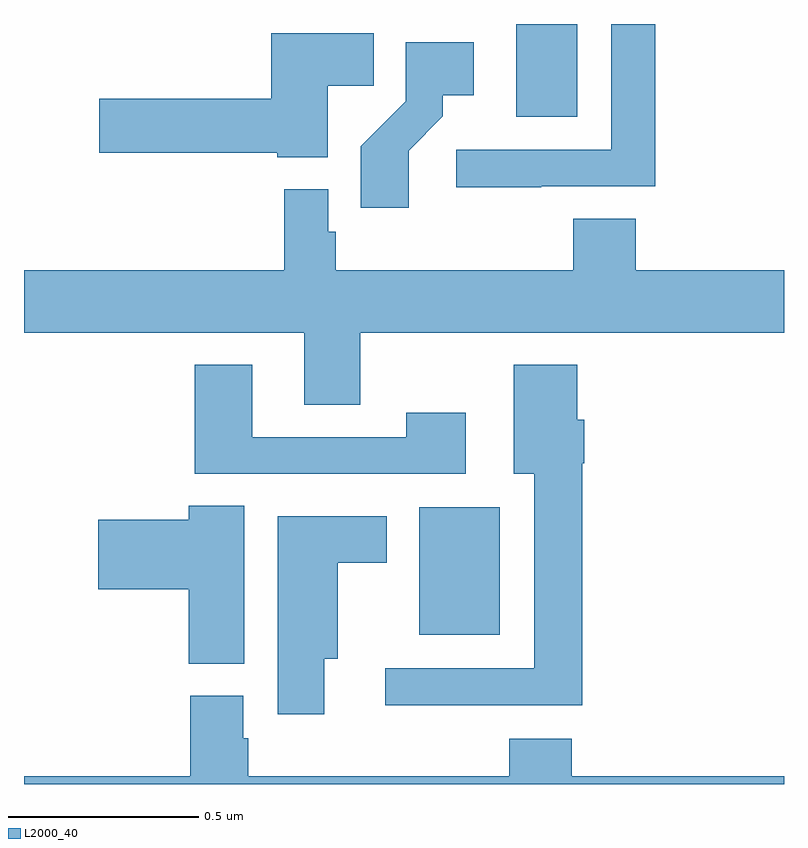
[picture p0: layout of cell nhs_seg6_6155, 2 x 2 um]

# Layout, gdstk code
import gdstk
lib = gdstk.Library(unit=1e-6, precision=1e-09)
def R(c, l, rs):  # rectangles x0, y0, x1, y1
    for r in rs: c.add(gdstk.rectangle(r[:2], r[2:], *l))
def P(c, l, *ps):  # polygons
    for p in ps: c.add(gdstk.Polygon(p, *l))
L2000_40 = (2000, 40)

nhs_seg6_6155 = lib.new_cell('nhs_seg6_6155')
R(nhs_seg6_6155, L2000_40, [(193.04,927.893,193.252,928.228), (193.295,929.256,193.456,929.5)])
P(nhs_seg6_6155, L2000_40, [(193.361,929.073),(193.661,929.073),(193.661,929.5),(193.545,929.5),(193.545,929.169),(193.137,929.169),(193.137,929.071),(193.361,929.071)],
  [(192.799,929.338),(192.92,929.338),(192.92,929.476),(192.65,929.476),(192.65,929.303),(192.198,929.303),(192.198,929.161),(192.666,929.161),(192.666,929.15),(192.799,929.15)],
  [(193.012,929.167),(193.102,929.257),(193.102,929.312),(193.183,929.312),(193.183,929.452),(193.005,929.452),(193.005,929.297),(192.886,929.178),(192.886,929.016),(193.012,929.016)],
  [(192.885,928.688),(194,928.688),(194,928.852),(193.61,928.852),(193.61,928.988),(193.445,928.988),(193.445,928.852),(192.821,928.852),(192.821,928.953),(192.801,928.953),(192.801,929.065),(192.685,929.065),(192.685,928.852),(192,928.852),(192,928.688),(192.737,928.688),(192.737,928.498),(192.885,928.498)],
  [(193.469,928.344),(193.474,928.344),(193.474,928.458),(193.456,928.458),(193.456,928.603),(193.289,928.603),(193.289,928.316),(193.343,928.316),(193.343,927.804),(192.951,927.804),(192.951,927.707),(193.469,927.707)],
  [(193.162,928.477),(193.006,928.477),(193.006,928.413),(192.601,928.413),(192.601,928.603),(192.449,928.603),(192.449,928.317),(193.162,928.317)],
  [(192.58,928.232),(192.434,928.232),(192.434,928.196),(192.195,928.196),(192.195,928.013),(192.434,928.013),(192.434,927.817),(192.58,927.817)],
  [(192.79,927.83),(192.826,927.83),(192.826,928.082),(192.955,928.082),(192.955,928.204),(192.668,928.204),(192.668,927.684),(192.79,927.684)],
  [(194,927.52),(193.442,927.52),(193.442,927.619),(193.277,927.619),(193.277,927.52),(192.59,927.52),(192.59,927.621),(192.577,927.621),(192.577,927.732),(192.437,927.732),(192.437,927.52),(192,927.52),(192,927.5),(194,927.5)])

lib.write_gds('nhs_seg6_6155.gds')
